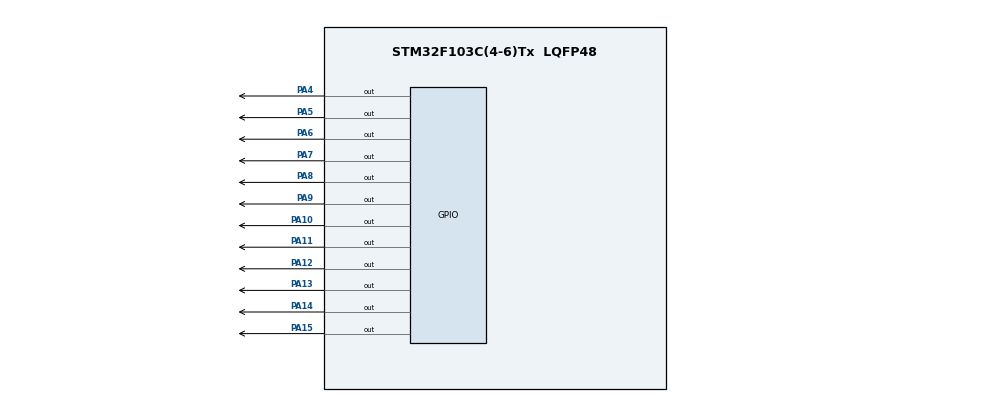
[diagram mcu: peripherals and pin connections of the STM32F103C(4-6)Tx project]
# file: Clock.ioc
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Mcu.Family=STM32F1
Mcu.Name=STM32F103C(4-6)Tx
Mcu.Package=LQFP48
NVIC.PriorityGroup=NVIC_PRIORITYGROUP_4
PA10.Signal=GPIO_Output
PA11.Signal=GPIO_Output
PA12.Signal=GPIO_Output
PA13.Signal=GPIO_Output
PA14.Signal=GPIO_Output
PA15.Signal=GPIO_Output
PA4.Signal=GPIO_Output
PA5.Signal=GPIO_Output
PA6.Signal=GPIO_Output
PA7.Signal=GPIO_Output
PA8.Signal=GPIO_Output
PA9.Signal=GPIO_Output
ProjectManager.HeapSize=0x200
ProjectManager.StackSize=0x400
ProjectManager.TargetToolchain=STM32CubeIDE
RCC.APB1Freq_Value=8000000
RCC.APB2Freq_Value=8000000
board=custom

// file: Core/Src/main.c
/* USER CODE BEGIN Header */
/**
  ******************************************************************************
  * @file           : main.c
  * @brief          : Main program body
  ******************************************************************************
  * @attention
  *
  * Copyright (c) 2025 STMicroelectronics.
  * All rights reserved.
  *
  * This software is licensed under terms that can be found in the LICENSE file
  * in the root directory of this software component.
  * If no LICENSE file comes with this software, it is provided AS-IS.
  *
  ******************************************************************************
  */
/* USER CODE END Header */
#include "main.h"

/* USER CODE BEGIN PD */
#define RED_LED2 GPIO_PIN_2
#define YELLOW_LED2 GPIO_PIN_3
#define GREEN_LED2 GPIO_PIN_4
#define RED_LED GPIO_PIN_5
#define YELLOW_LED GPIO_PIN_6
#define GREEN_LED GPIO_PIN_7
#define ON 1
#define OFF 0
#define RED 1
#define YELLOW 2
#define GREEN 3
#define RED2 4
#define YELLOW2 5
#define GREEN2 6

#define INTERFACE 0
#define MINUTE 1
#define HOURS  2
/* USER CODE END PD */

/* USER CODE BEGIN PV */
uint8_t status = 0;
uint8_t counter = 0;
uint8_t ps = -1;
uint8_t pm = -1;
uint8_t ph = -1;

/* USER CODE END PV */

void SystemClock_Config(void);
static void MX_GPIO_Init(void);
/* USER CODE BEGIN PFP */
void display7SEG(int num);
void clearAllClock();
void setNumberOnClock(int num);
void clearNumberOnClock(int num);
void updateClock(uint8_t s, uint8_t m, uint8_t h);
/* USER CODE END PFP */

int main(void)
{

  /* MCU Configuration--------------------------------------------------------*/

  /* Reset of all peripherals, Initializes the Flash interface and the Systick. */
  HAL_Init();

  /* Configure the system clock */
  SystemClock_Config();

  /* Initialize all configured peripherals */
  MX_GPIO_Init();
  /* USER CODE BEGIN 2 */
uint8_t s, h, m;
s = h = m = 0;
clearAllClock();
  /* USER CODE END 2 */

  /* Infinite loop */
  while (1)
  {
	  HAL_Delay(100);
	 	     s++;
	 	     if(s == 60){
	 	         s = 0;
	 	         m++;
	 	     }
	 	     if(m == 60){
	 	         m = 0;
	 	         h++;
	 	     }
	 	     if(h == 12){
	 	         h = 0;
	 	     }
	 	     updateClock(s, m, h);
  }
}

void SystemClock_Config(void)
{
  RCC_OscInitTypeDef RCC_OscInitStruct = {0};
  RCC_ClkInitTypeDef RCC_ClkInitStruct = {0};

  /** Initializes the RCC Oscillators according to the specified parameters
  * in the RCC_OscInitTypeDef structure.
  */
  RCC_OscInitStruct.OscillatorType = RCC_OSCILLATORTYPE_HSI;
  RCC_OscInitStruct.HSIState = RCC_HSI_ON;
  RCC_OscInitStruct.HSICalibrationValue = RCC_HSICALIBRATION_DEFAULT;
  RCC_OscInitStruct.PLL.PLLState = RCC_PLL_NONE;
  if (HAL_RCC_OscConfig(&RCC_OscInitStruct) != HAL_OK)
  {
    Error_Handler();
  }

  /** Initializes the CPU, AHB and APB buses clocks
  */
  RCC_ClkInitStruct.ClockType = RCC_CLOCKTYPE_HCLK|RCC_CLOCKTYPE_SYSCLK
                              |RCC_CLOCKTYPE_PCLK1|RCC_CLOCKTYPE_PCLK2;
  RCC_ClkInitStruct.SYSCLKSource = RCC_SYSCLKSOURCE_HSI;
  RCC_ClkInitStruct.AHBCLKDivider = RCC_SYSCLK_DIV1;
  RCC_ClkInitStruct.APB1CLKDivider = RCC_HCLK_DIV1;
  RCC_ClkInitStruct.APB2CLKDivider = RCC_HCLK_DIV1;

  if (HAL_RCC_ClockConfig(&RCC_ClkInitStruct, FLASH_LATENCY_0) != HAL_OK)
  {
    Error_Handler();
  }
}

static void MX_GPIO_Init(void)
{
  GPIO_InitTypeDef GPIO_InitStruct = {0};

  /* GPIO Ports Clock Enable */
  __HAL_RCC_GPIOA_CLK_ENABLE();

  /*Configure GPIO pin Output Level */
  HAL_GPIO_WritePin(GPIOA, GPIO_PIN_4|GPIO_PIN_5|GPIO_PIN_6|GPIO_PIN_7
                          |GPIO_PIN_8|GPIO_PIN_9|GPIO_PIN_10|GPIO_PIN_11
                          |GPIO_PIN_12|GPIO_PIN_13|GPIO_PIN_14|GPIO_PIN_15, GPIO_PIN_RESET);

  /*Configure GPIO pins : PA4 PA5 PA6 PA7
                           PA8 PA9 PA10 PA11
                           PA12 PA13 PA14 PA15 */
  GPIO_InitStruct.Pin = GPIO_PIN_4|GPIO_PIN_5|GPIO_PIN_6|GPIO_PIN_7
                          |GPIO_PIN_8|GPIO_PIN_9|GPIO_PIN_10|GPIO_PIN_11
                          |GPIO_PIN_12|GPIO_PIN_13|GPIO_PIN_14|GPIO_PIN_15;
  GPIO_InitStruct.Mode = GPIO_MODE_OUTPUT_PP;
  GPIO_InitStruct.Pull = GPIO_NOPULL;
  GPIO_InitStruct.Speed = GPIO_SPEED_FREQ_LOW;
  HAL_GPIO_Init(GPIOA, &GPIO_InitStruct);

}

/* USER CODE BEGIN 4 */
void updateClock(uint8_t s, uint8_t m, uint8_t h){
	// xoa kim cu
	if(ps != -1 ) clearNumberOnClock(ps/5);
	if(pm != -1 ) clearNumberOnClock(pm/5);
	if(ph != -1 ) clearNumberOnClock(ph);

	//set kim moi
	setNumberOnClock(s/5);
	setNumberOnClock(m /5);
	setNumberOnClock(h);

	ps = s;
	pm = m;
	ph = h;
}
//a-0 b-1 c-2 d-3 e-4 f-5 g-6
void display7SEG(int num){
	switch(num){
	case 0:

		HAL_GPIO_WritePin(GPIOB, GPIO_PIN_0, OFF);
		HAL_GPIO_WritePin(GPIOB, GPIO_PIN_1, OFF);
		HAL_GPIO_WritePin(GPIOB, GPIO_PIN_2, OFF);
		HAL_GPIO_WritePin(GPIOB, GPIO_PIN_3, OFF);
		HAL_GPIO_WritePin(GPIOB, GPIO_PIN_4, OFF);
		HAL_GPIO_WritePin(GPIOB, GPIO_PIN_5, OFF);
		HAL_GPIO_WritePin(GPIOB, GPIO_PIN_6, ON);
		break;
	case 1:
		HAL_GPIO_WritePin(GPIOB, GPIO_PIN_0, ON);
		HAL_GPIO_WritePin(GPIOB, GPIO_PIN_1, OFF);
		HAL_GPIO_WritePin(GPIOB, GPIO_PIN_2, OFF);
		HAL_GPIO_WritePin(GPIOB, GPIO_PIN_3, ON);
		HAL_GPIO_WritePin(GPIOB, GPIO_PIN_4, ON);
		HAL_GPIO_WritePin(GPIOB, GPIO_PIN_5, ON);
		HAL_GPIO_WritePin(GPIOB, GPIO_PIN_6, ON);
		break;
	case 2:
		HAL_GPIO_WritePin(GPIOB, GPIO_PIN_0, OFF);
		HAL_GPIO_WritePin(GPIOB, GPIO_PIN_1, OFF);
		HAL_GPIO_WritePin(GPIOB, GPIO_PIN_2, ON);
		HAL_GPIO_WritePin(GPIOB, GPIO_PIN_3, OFF);
		HAL_GPIO_WritePin(GPIOB, GPIO_PIN_4, OFF);
		HAL_GPIO_WritePin(GPIOB, GPIO_PIN_5, ON);
		HAL_GPIO_WritePin(GPIOB, GPIO_PIN_6, OFF);
		break;
	case 3:
		HAL_GPIO_WritePin(GPIOB, GPIO_PIN_0, OFF);
		HAL_GPIO_WritePin(GPIOB, GPIO_PIN_1, OFF);
		HAL_GPIO_WritePin(GPIOB, GPIO_PIN_2, OFF);
		HAL_GPIO_WritePin(GPIOB, GPIO_PIN_3, OFF);
		HAL_GPIO_WritePin(GPIOB, GPIO_PIN_4, ON);
		HAL_GPIO_WritePin(GPIOB, GPIO_PIN_5, ON);
		HAL_GPIO_WritePin(GPIOB, GPIO_PIN_6, OFF);
		break;
	case 4:
		HAL_GPIO_WritePin(GPIOB, GPIO_PIN_0, ON);
		HAL_GPIO_WritePin(GPIOB, GPIO_PIN_1, OFF);
		HAL_GPIO_WritePin(GPIOB, GPIO_PIN_2, OFF);
		HAL_GPIO_WritePin(GPIOB, GPIO_PIN_3, ON);
		HAL_GPIO_WritePin(GPIOB, GPIO_PIN_4, ON);
		HAL_GPIO_WritePin(GPIOB, GPIO_PIN_5, OFF);
		HAL_GPIO_WritePin(GPIOB, GPIO_PIN_6, OFF);
		break;
	case 5:
		HAL_GPIO_WritePin(GPIOB, GPIO_PIN_0, OFF);
		HAL_GPIO_WritePin(GPIOB, GPIO_PIN_1, ON);
		HAL_GPIO_WritePin(GPIOB, GPIO_PIN_2, OFF);
		HAL_GPIO_WritePin(GPIOB, GPIO_PIN_3, OFF);
		HAL_GPIO_WritePin(GPIOB, GPIO_PIN_4, ON);
		HAL_GPIO_WritePin(GPIOB, GPIO_PIN_5, OFF);
		HAL_GPIO_WritePin(GPIOB, GPIO_PIN_6, OFF);
		break;
	case 6:
		HAL_GPIO_WritePin(GPIOB, GPIO_PIN_0, OFF);
		HAL_GPIO_WritePin(GPIOB, GPIO_PIN_1, ON);
		HAL_GPIO_WritePin(GPIOB, GPIO_PIN_2, OFF);
		HAL_GPIO_WritePin(GPIOB, GPIO_PIN_3, OFF);
		HAL_GPIO_WritePin(GPIOB, GPIO_PIN_4, OFF);
		HAL_GPIO_WritePin(GPIOB, GPIO_PIN_5, OFF);
		HAL_GPIO_WritePin(GPIOB, GPIO_PIN_6, OFF);
		break;
	case 7:
		HAL_GPIO_WritePin(GPIOB, GPIO_PIN_0, OFF);
		HAL_GPIO_WritePin(GPIOB, GPIO_PIN_1, OFF);
		HAL_GPIO_WritePin(GPIOB, GPIO_PIN_2, OFF);
		HAL_GPIO_WritePin(GPIOB, GPIO_PIN_3, ON);
		HAL_GPIO_WritePin(GPIOB, GPIO_PIN_4, ON);
		HAL_GPIO_WritePin(GPIOB, GPIO_PIN_5, ON);
		HAL_GPIO_WritePin(GPIOB, GPIO_PIN_6, ON);
		break;
	case 8:
		HAL_GPIO_WritePin(GPIOB, GPIO_PIN_0, OFF);
		HAL_GPIO_WritePin(GPIOB, GPIO_PIN_1, OFF);
		HAL_GPIO_WritePin(GPIOB, GPIO_PIN_2, OFF);
		HAL_GPIO_WritePin(GPIOB, GPIO_PIN_3, OFF);
		HAL_GPIO_WritePin(GPIOB, GPIO_PIN_4, OFF);
		HAL_GPIO_WritePin(GPIOB, GPIO_PIN_5, OFF);
		HAL_GPIO_WritePin(GPIOB, GPIO_PIN_6, OFF);
		break;
	case 9:
		HAL_GPIO_WritePin(GPIOB, GPIO_PIN_0, OFF);
		HAL_GPIO_WritePin(GPIOB, GPIO_PIN_1, OFF);
		HAL_GPIO_WritePin(GPIOB, GPIO_PIN_2, OFF);
		HAL_GPIO_WritePin(GPIOB, GPIO_PIN_3, OFF);
		HAL_GPIO_WritePin(GPIOB, GPIO_PIN_4, ON);
		HAL_GPIO_WritePin(GPIOB, GPIO_PIN_5, OFF);
		HAL_GPIO_WritePin(GPIOB, GPIO_PIN_6, OFF);
		break;
	default: break;

	}
}
void clearAllClock(){

	  HAL_GPIO_WritePin(GPIOA, GPIO_PIN_4, ON);
	  HAL_GPIO_WritePin(GPIOA, GPIO_PIN_5, ON);
	  HAL_GPIO_WritePin(GPIOA, GPIO_PIN_6, ON);
	  HAL_GPIO_WritePin(GPIOA, GPIO_PIN_7, ON);
	  HAL_GPIO_WritePin(GPIOA, GPIO_PIN_8, ON);
	  HAL_GPIO_WritePin(GPIOA, GPIO_PIN_9, ON);
	  HAL_GPIO_WritePin(GPIOA, GPIO_PIN_10, ON);
	  HAL_GPIO_WritePin(GPIOA, GPIO_PIN_11, ON);
	  HAL_GPIO_WritePin(GPIOA, GPIO_PIN_12, ON);
	  HAL_GPIO_WritePin(GPIOA, GPIO_PIN_13, ON);
	  HAL_GPIO_WritePin(GPIOA, GPIO_PIN_14, ON);
	  HAL_GPIO_WritePin(GPIOA, GPIO_PIN_15, ON);
}
void setNumberOnClock(int num){

	switch(num){

		  case 0:
			  HAL_GPIO_WritePin(GPIOA, GPIO_PIN_15, OFF);

			  break;
		  case 1:

			  HAL_GPIO_WritePin(GPIOA, GPIO_PIN_4, OFF);

			  break;
		  case 2:

			  HAL_GPIO_WritePin(GPIOA, GPIO_PIN_5, OFF);

			  break;

		  case 3:

			  HAL_GPIO_WritePin(GPIOA, GPIO_PIN_6, OFF);

			  break;
		  case 4:

			  HAL_GPIO_WritePin(GPIOA, GPIO_PIN_7, OFF);

			  break;
		  case 5:

			  HAL_GPIO_WritePin(GPIOA, GPIO_PIN_8, OFF);

			  break;
		  case 6:

			  HAL_GPIO_WritePin(GPIOA, GPIO_PIN_9, OFF);

			  break;
		  case 7:

			  HAL_GPIO_WritePin(GPIOA, GPIO_PIN_10, OFF);

			  break;
		  case 8:

			  HAL_GPIO_WritePin(GPIOA, GPIO_PIN_11, OFF);

			  break;
		  case 9:

			  HAL_GPIO_WritePin(GPIOA, GPIO_PIN_12, OFF);

			  break;
		  case 10:

			  HAL_GPIO_WritePin(GPIOA, GPIO_PIN_13, OFF);

			  break;
		  case 11:

			  HAL_GPIO_WritePin(GPIOA, GPIO_PIN_14, OFF);

			  break;
		  default: break;
	  }
}
void clearNumberOnClock(int num){
	switch(num){

			  case 0:
				  HAL_GPIO_WritePin(GPIOA, GPIO_PIN_15, ON);

				  break;
			  case 1:

				  HAL_GPIO_WritePin(GPIOA, GPIO_PIN_4, ON);

				  break;
			  case 2:

				  HAL_GPIO_WritePin(GPIOA, GPIO_PIN_5, ON);

				  break;

			  case 3:

				  HAL_GPIO_WritePin(GPIOA, GPIO_PIN_6, ON);

				  break;
			  case 4:

				  HAL_GPIO_WritePin(GPIOA, GPIO_PIN_7, ON);

				  break;
			  case 5:

				  HAL_GPIO_WritePin(GPIOA, GPIO_PIN_8, ON);

				  break;
			  case 6:

				  HAL_GPIO_WritePin(GPIOA, GPIO_PIN_9, ON);

				  break;
			  case 7:

				  HAL_GPIO_WritePin(GPIOA, GPIO_PIN_10, ON);

				  break;
			  case 8:

				  HAL_GPIO_WritePin(GPIOA, GPIO_PIN_11, ON);

				  break;
			  case 9:

				  HAL_GPIO_WritePin(GPIOA, GPIO_PIN_12, ON);

				  break;
			  case 10:

				  HAL_GPIO_WritePin(GPIOA, GPIO_PIN_13, ON);

				  break;
			  case 11:

				  HAL_GPIO_WritePin(GPIOA, GPIO_PIN_14, ON);

				  break;
			  default: break;
		  }
}
/* USER CODE END 4 */

void Error_Handler(void)
{
  __disable_irq();
  while (1)
  {
  }
}
